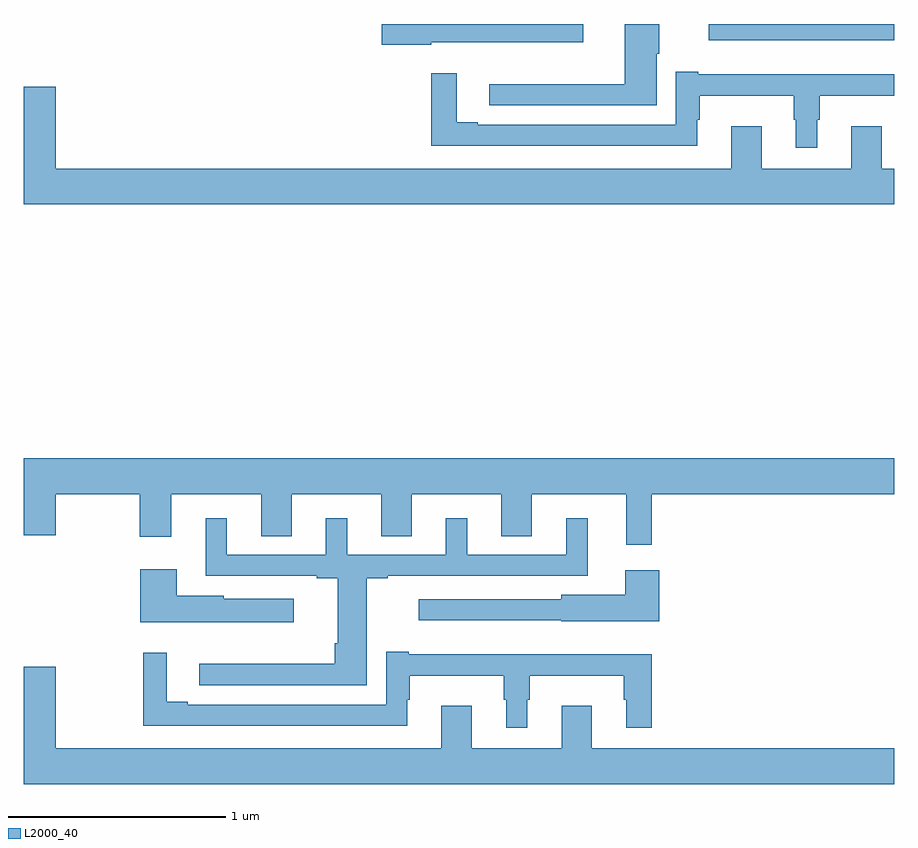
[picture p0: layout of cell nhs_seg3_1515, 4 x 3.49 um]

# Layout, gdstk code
import gdstk
lib = gdstk.Library(unit=1e-6, precision=1e-09)
def R(c, l, rs):  # rectangles x0, y0, x1, y1
    for r in rs: c.add(gdstk.rectangle(r[:2], r[2:], *l))
def P(c, l, *ps):  # polygons
    for p in ps: c.add(gdstk.Polygon(p, *l))
L2000_40 = (2000, 40)

nhs_seg3_1515 = lib.new_cell('nhs_seg3_1515')
R(nhs_seg3_1515, L2000_40, [(192.147,712.325,193,712.4)])
P(nhs_seg3_1515, L2000_40, [(190.872,712.316),(191.572,712.316),(191.572,712.4),(190.644,712.4),(190.644,712.304),(190.872,712.304)],
  [(191.908,712.263),(191.92,712.263),(191.92,712.4),(191.762,712.4),(191.762,712.124),(191.139,712.124),(191.139,712.026),(191.908,712.026)],
  [(192.646,711.959),(192.658,711.959),(192.658,712.07),(193,712.07),(193,712.168),(192.1,712.168),(192.1,712.18),(191.997,712.18),(191.997,711.936),(191.086,711.936),(191.086,711.949),(190.99,711.949),(190.99,712.174),(190.873,712.174),(190.873,711.84),(192.094,711.84),(192.094,711.959),(192.106,711.959),(192.106,712.07),(192.537,712.07),(192.537,711.959),(192.548,711.959),(192.548,711.831),(192.646,711.831)],
  [(193,711.736),(192.943,711.736),(192.943,711.931),(192.803,711.931),(192.803,711.736),(192.391,711.736),(192.391,711.931),(192.251,711.931),(192.251,711.736),(189.148,711.736),(189.148,712.111),(189,712.111),(189,711.572),(193,711.572)],
  [(191.885,710.24),(193,710.24),(193,710.404),(189,710.404),(189,710.052),(189.148,710.052),(189.148,710.24),(189.532,710.24),(189.532,710.043),(189.679,710.043),(189.679,710.24),(190.091,710.24),(190.091,710.047),(190.231,710.047),(190.231,710.24),(190.643,710.24),(190.643,710.047),(190.783,710.047),(190.783,710.24),(191.195,710.24),(191.195,710.047),(191.335,710.047),(191.335,710.24),(191.768,710.24),(191.768,710.007),(191.885,710.007)],
  [(190.576,709.854),(190.672,709.854),(190.672,709.866),(191.591,709.866),(191.591,710.128),(191.492,710.128),(191.492,709.962),(191.038,709.962),(191.038,710.128),(190.94,710.128),(190.94,709.962),(190.486,709.962),(190.486,710.128),(190.388,710.128),(190.388,709.962),(189.934,709.962),(189.934,710.128),(189.836,710.128),(189.836,709.866),(190.346,709.866),(190.346,709.854),(190.442,709.854),(190.442,709.555),(190.43,709.555),(190.43,709.46),(189.807,709.46),(189.807,709.362),(190.576,709.362)],
  [(190.24,709.759),(189.918,709.759),(189.918,709.774),(189.703,709.774),(189.703,709.894),(189.536,709.894),(189.536,709.652),(190.24,709.652)],
  [(191.921,709.891),(191.765,709.891),(191.765,709.777),(191.469,709.777),(191.469,709.758),(190.815,709.758),(190.815,709.661),(191.469,709.661),(191.469,709.655),(191.921,709.655)],
  [(191.314,709.295),(191.326,709.295),(191.326,709.406),(191.757,709.406),(191.757,709.295),(191.768,709.295),(191.768,709.167),(191.885,709.167),(191.885,709.504),(190.768,709.504),(190.768,709.516),(190.665,709.516),(190.665,709.272),(189.754,709.272),(189.754,709.285),(189.658,709.285),(189.658,709.51),(189.549,709.51),(189.549,709.176),(190.762,709.176),(190.762,709.295),(190.774,709.295),(190.774,709.406),(191.205,709.406),(191.205,709.295),(191.216,709.295),(191.216,709.167),(191.314,709.167)],
  [(193,709.072),(191.611,709.072),(191.611,709.267),(191.471,709.267),(191.471,709.072),(191.059,709.072),(191.059,709.267),(190.919,709.267),(190.919,709.072),(189.148,709.072),(189.148,709.447),(189,709.447),(189,708.908),(193,708.908)])

lib.write_gds('nhs_seg3_1515.gds')
